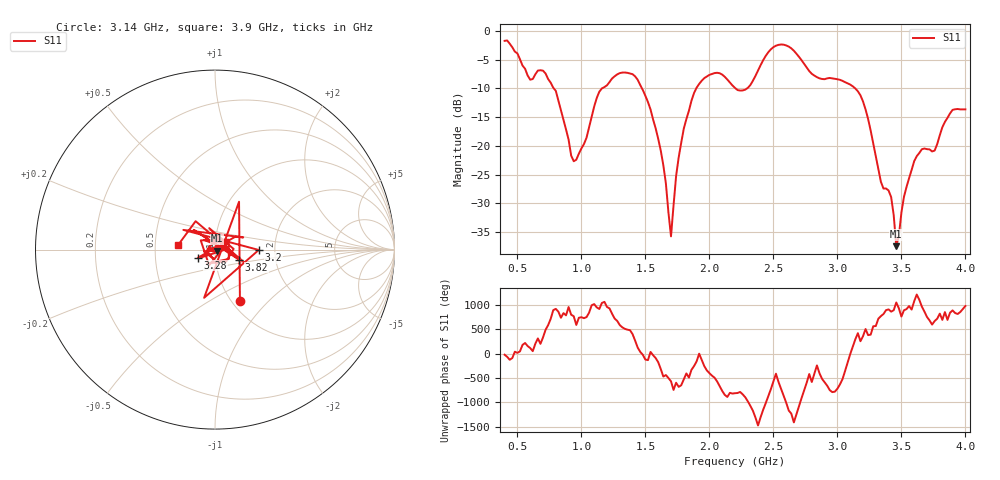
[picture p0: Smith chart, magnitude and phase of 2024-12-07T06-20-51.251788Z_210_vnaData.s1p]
!Created with skrf (http://scikit-rf.org).
# Hz S RI R 50.0
!freq ReS11 ImS11
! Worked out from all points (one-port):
!   181 points, 400 MHz to 4 GHz, reference 50 ohm
!   lowest |S11| = -37.5 dB at 3.46 GHz (marker M1), VSWR 1.03, Z = 51.2 - j0.576 ohm
!   |S11| at or under -10 dB: 784.6 MHz to 1.16 GHz (375.4 MHz wide, 38.6 % of centre); 1.473 GHz to 1.897 GHz (424 MHz wide, 25.2 % of centre); 3.14 GHz to end of sweep (the widest 3 of 4)
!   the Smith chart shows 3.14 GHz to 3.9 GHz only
!   S11 on the Smith chart (normalised r, x): 3.14 GHz: 1.09, -0.69; 3.2 GHz: 1.64, -0.01; 3.28 GHz: 0.82, -0.07; 3.82 GHz: 1.30, -0.15; 3.9 GHz: 0.66, +0.04
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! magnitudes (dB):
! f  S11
! 400 MHz  -1.7
! 600 MHz  -8.5
! 720 MHz  -7.4
! 860 MHz  -15.5
! 960 MHz  -22.4
! 1.14 GHz  -10.6
! 1.3 GHz  -7.3
! 1.42 GHz  -7.9
! 1.54 GHz  -13.7
! 1.64 GHz  -23.4
! 1.7 GHz  -35.8
! 1.76 GHz  -22.0
! 1.86 GHz  -12.1
! 1.94 GHz  -8.7
! 2.2 GHz  -9.9
! 2.5 GHz  -2.8
! 2.66 GHz  -3.4
! 3.1 GHz  -9.3
! 3.14 GHz  -10.0
! 3.2 GHz  -12.3
! 3.28 GHz  -19.6
! 3.34 GHz  -26.3
! 3.42 GHz  -28.9
! 3.46 GHz  -37.5
! 3.56 GHz  -25.6
! 3.82 GHz  -16.8
! 3.9 GHz  -13.7
! 4 GHz  -13.7
